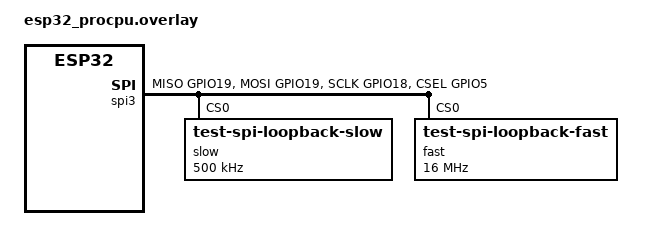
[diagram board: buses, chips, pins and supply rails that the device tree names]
/*
 * Copyright (c) 2022 Kumar Gala <galak@kernel.org>
 *
 * SPDX-License-Identifier: Apache-2.0
 */

&pinctrl {
	spim3_loopback: spim3_loopback {
		group1 {
			pinmux = <SPIM3_MISO_GPIO19>;
			output-enable; /* Enable internal loopback */
		};

		group2 {
			pinmux = <SPIM3_MOSI_GPIO19>;
			input-enable; /* Enable internal loopback */
		};

		group3 {
			pinmux = <SPIM3_SCLK_GPIO18>,
				 <SPIM3_CSEL_GPIO5>;
		};
	};
};

/*
 * Kept inline on purpose. An SoC overlay is applied in addition to the
 * board overlay, and olimex_esp32_evb/esp32/procpu already puts the
 * loopback contract on &spi2. Labelling &spi3 spi_loopback here as well
 * would be a duplicate label and break that board's build.
 */
&spi3 {
	slow@0 {
		compatible = "test-spi-loopback-slow";
		reg = <0>;
		spi-max-frequency = <500000>;
	};

	fast@0 {
		compatible = "test-spi-loopback-fast";
		reg = <0>;
		spi-max-frequency = <16000000>;
	};
};

&spi3 {
	#address-cells = <1>;
	#size-cells = <0>;
	dma-enabled;
	pinctrl-0 = <&spim3_loopback>;
	pinctrl-names = "default";
	status = "okay";
};
